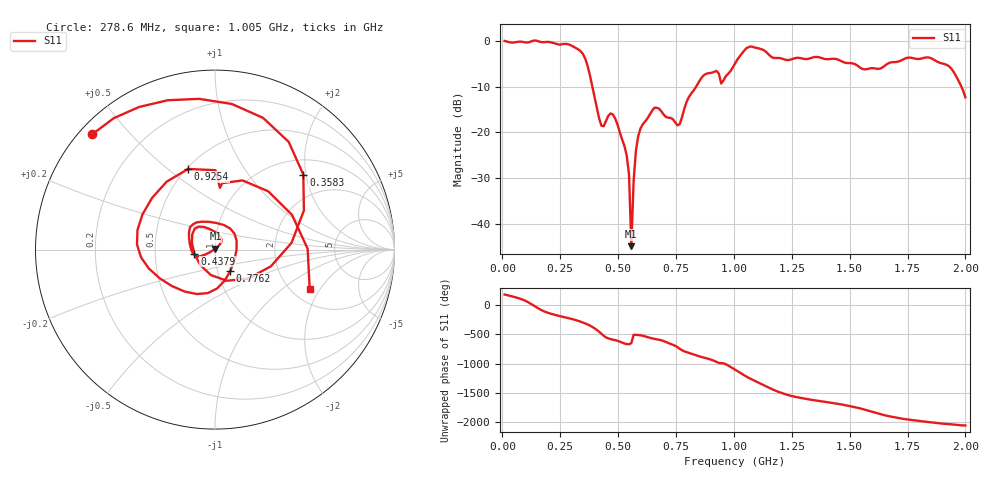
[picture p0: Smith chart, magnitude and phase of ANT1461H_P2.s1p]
!Created with skrf (http://scikit-rf.org).
# Hz S RI R 50.0
!freq ReS11 ImS11
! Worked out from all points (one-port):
!   201 points, 10 MHz to 2 GHz, reference 50 ohm
!   lowest |S11| = -45.0 dB at 557.2 MHz (marker M1), VSWR 1.01, Z = 50.2 + j0.521 ohm
!   |S11| at or under -10 dB: 389.1 MHz to 836.4 MHz (447.3 MHz wide, 73 % of centre); 1.983 GHz to end of sweep
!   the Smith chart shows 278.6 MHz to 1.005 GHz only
!   S11 on the Smith chart (normalised r, x): 278.6 MHz: 0.04, +0.40; 358.2 MHz: 1.35, +1.93; 437.9 MHz: 0.79, -0.04; 776.1 MHz: 1.15, -0.28; 925.4 MHz: 0.51, +0.59; 1.005 GHz: 2.48, -1.62
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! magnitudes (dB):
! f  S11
! 10 MHz  0.1
! 258.8 MHz  -0.6
! 278.6 MHz  -0.6
! 358.2 MHz  -3.8
! 417.9 MHz  -16.8
! 437.9 MHz  -18.6
! 467.7 MHz  -15.8
! 507.5 MHz  -20.0
! 537.4 MHz  -25.1
! 547.3 MHz  -29.2
! 557.2 MHz  -45.0
! 567.2 MHz  -30.6
! 577.1 MHz  -24.0
! 597 MHz  -19.1
! 656.8 MHz  -14.6
! 756.2 MHz  -18.4
! 776.1 MHz  -16.7
! 865.7 MHz  -7.7
! 925.4 MHz  -6.5
! 945.3 MHz  -9.2
! 1.005 GHz  -4.9
! 1.075 GHz  -1.1
! 1.254 GHz  -3.8
! 1.502 GHz  -4.8
! 1.622 GHz  -6.0
! 1.751 GHz  -3.6
! 1.93 GHz  -5.5
! 2 GHz  -12.3
